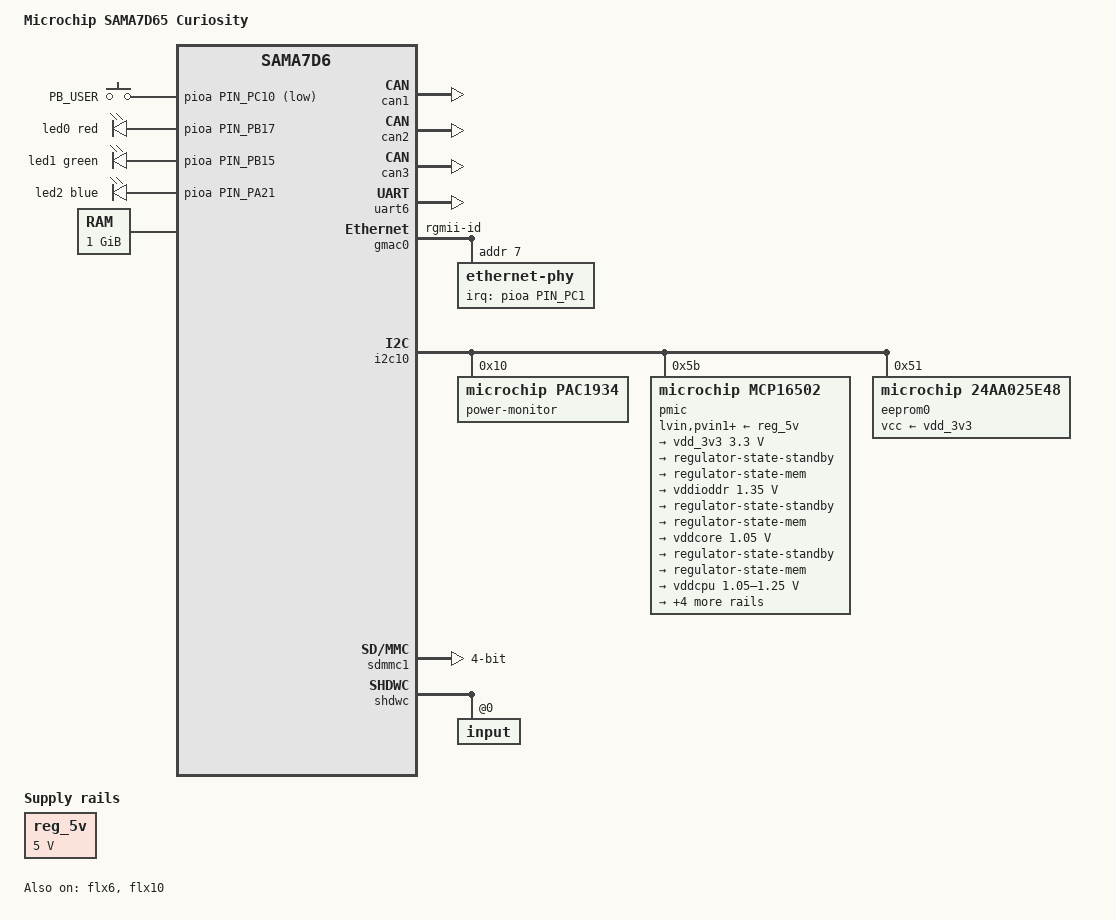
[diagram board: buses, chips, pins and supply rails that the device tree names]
// SPDX-License-Identifier: (GPL-2.0+ OR MIT)
/*
 *  at91-sama7d65_curiosity.dts - Device Tree file for SAMA7D65 Curiosity board
 *
 *  Copyright (c) 2024 Microchip Technology Inc. and its subsidiaries
 *
 *  Author: Romain Sioen <romain.sioen@microchip.com>
 *
 */
/dts-v1/;
#include "sama7d65-pinfunc.h"
#include "sama7d65.dtsi"
#include <dt-bindings/mfd/atmel-flexcom.h>
#include <dt-bindings/input/input.h>
#include <dt-bindings/leds/common.h>
#include <dt-bindings/pinctrl/at91.h>

/ {
	model = "Microchip SAMA7D65 Curiosity";
	compatible = "microchip,sama7d65-curiosity", "microchip,sama7d65",
		     "microchip,sama7d6", "microchip,sama7";

	aliases {
		serial0 = &uart6;
	};

	chosen {
		stdout-path = "serial0:115200n8";
	};

	gpio-keys {
		compatible = "gpio-keys";

		pinctrl-names = "default";
		pinctrl-0 = <&pinctrl_key_gpio_default>;

		button {
			label = "PB_USER";
			gpios = <&pioa PIN_PC10 GPIO_ACTIVE_LOW>;
			linux,code = <KEY_PROG1>;
			wakeup-source;
		};
	};

	leds {
		compatible = "gpio-leds";
		pinctrl-names = "default";
		pinctrl-0 = <&pinctrl_led_gpio_default>;

		led0: led-red {
			color = <LED_COLOR_ID_RED>;
			gpios = <&pioa PIN_PB17 GPIO_ACTIVE_HIGH>; /* Conflict with pwm. */
		};

		led1: led-green {
			color = <LED_COLOR_ID_GREEN>;
			gpios = <&pioa PIN_PB15 GPIO_ACTIVE_HIGH>; /* Conflict with pwm. */
		};

		led2: led-blue {
			color = <LED_COLOR_ID_BLUE>;
			function = LED_FUNCTION_HEARTBEAT;
			gpios = <&pioa PIN_PA21 GPIO_ACTIVE_HIGH>;
			linux,default-trigger = "heartbeat";
		};
	};

	memory@60000000 {
		device_type = "memory";
		reg = <0x60000000 0x40000000>;
	};

	reg_5v: regulator-5v {
		compatible = "regulator-fixed";
		regulator-name = "5V_MAIN";
		regulator-min-microvolt = <5000000>;
		regulator-max-microvolt = <5000000>;
		regulator-always-on;
	};
};

&can1 {
	pinctrl-names = "default";
	pinctrl-0 = <&pinctrl_can1_default>;
	status = "okay";
};

&can2 {
	pinctrl-names = "default";
	pinctrl-0 = <&pinctrl_can2_default>;
	status = "okay";
};

&can3 {
	pinctrl-names = "default";
	pinctrl-0 = <&pinctrl_can3_default>;
	status = "okay";
};

&dma0 {
	status = "okay";
};

&dma1 {
	status = "okay";
};

&dma2 {
	status = "okay";
};

&flx6 {
	atmel,flexcom-mode = <ATMEL_FLEXCOM_MODE_USART>;
	status = "okay";
};

&uart6 {
	pinctrl-names = "default";
	pinctrl-0 = <&pinctrl_uart6_default>;
	status = "okay";
};

&flx10 {
	atmel,flexcom-mode = <ATMEL_FLEXCOM_MODE_TWI>;
	status = "okay";
};

&gmac0 {
	#address-cells = <1>;
	#size-cells = <0>;
	pinctrl-names = "default";
	pinctrl-0 = <&pinctrl_gmac0_default
		     &pinctrl_gmac0_mdio_default
		     &pinctrl_gmac0_txck_default
		     &pinctrl_gmac0_phy_irq>;
	phy-mode = "rgmii-id";
	nvmem-cells = <&eeprom0_eui48>;
	nvmem-cell-names = "mac-address";
	status = "okay";

	ethernet-phy@7 {
		reg = <0x7>;
		interrupt-parent = <&pioa>;
		interrupts = <PIN_PC1 IRQ_TYPE_LEVEL_LOW>;
	};
};

&i2c10 {
	dmas = <0>, <0>;
	i2c-analog-filter;
	i2c-digital-filter;
	i2c-digital-filter-width-ns = <35>;
	pinctrl-names = "default";
	pinctrl-0 = <&pinctrl_i2c10_default>;
	status = "okay";

	power-monitor@10 {
		compatible = "microchip,pac1934";
		reg = <0x10>;
		#address-cells = <1>;
		#size-cells = <0>;

		channel@1 {
			reg = <0x1>;
			shunt-resistor-micro-ohms = <47000>;
			label = "VDD3V3";
		};

		channel@2 {
			reg = <0x2>;
			shunt-resistor-micro-ohms = <47000>;
			label = "VDDIODDR";
		};

		channel@3 {
			reg = <0x3>;
			shunt-resistor-micro-ohms = <47000>;
			label = "VDDCORE";
		};

		channel@4 {
			reg = <0x4>;
			shunt-resistor-micro-ohms = <47000>;
			label = "VDDCPU";
		};
	};

	pmic@5b {
		compatible = "microchip,mcp16502";
		reg = <0x5b>;
		lvin-supply = <&reg_5v>;
		pvin1-supply = <&reg_5v>;
		pvin2-supply = <&reg_5v>;
		pvin3-supply = <&reg_5v>;
		pvin4-supply = <&reg_5v>;
		status = "okay";

		regulators {
			vdd_3v3: VDD_IO {
				regulator-name = "VDD_IO";
				regulator-min-microvolt = <3300000>;
				regulator-max-microvolt = <3300000>;
				regulator-initial-mode = <2>;
				regulator-allowed-modes = <2>, <4>;
				regulator-always-on;

				regulator-state-standby {
					regulator-on-in-suspend;
					regulator-suspend-microvolt = <3300000>;
					regulator-mode = <4>;
				};

				regulator-state-mem {
					regulator-off-in-suspend;
					regulator-mode = <4>;
				};
			};

			vddioddr: VDD_DDR {
				regulator-name = "VDD_DDR";
				regulator-min-microvolt = <1350000>;
				regulator-max-microvolt = <1350000>;
				regulator-initial-mode = <2>;
				regulator-allowed-modes = <2>, <4>;
				regulator-always-on;

				regulator-state-standby {
					regulator-on-in-suspend;
					regulator-suspend-microvolt = <1350000>;
					regulator-mode = <4>;
				};

				regulator-state-mem {
					regulator-on-in-suspend;
					regulator-suspend-microvolt = <1350000>;
					regulator-mode = <4>;
				};
			};

			vddcore: VDD_CORE {
				regulator-name = "VDD_CORE";
				regulator-min-microvolt = <1050000>;
				regulator-max-microvolt = <1050000>;
				regulator-initial-mode = <2>;
				regulator-allowed-modes = <2>, <4>;
				regulator-always-on;

				regulator-state-standby {
					regulator-on-in-suspend;
					regulator-suspend-microvolt = <1050000>;
					regulator-mode = <4>;
				};

				regulator-state-mem {
					regulator-off-in-suspend;
					regulator-mode = <4>;
				};
			};

			vddcpu: VDD_OTHER {
				regulator-name = "VDD_OTHER";
				regulator-min-microvolt = <1050000>;
				regulator-max-microvolt = <1250000>;
				regulator-initial-mode = <2>;
				regulator-allowed-modes = <2>, <4>;
				regulator-ramp-delay = <3125>;
				regulator-always-on;

				regulator-state-standby {
					regulator-on-in-suspend;
					regulator-suspend-microvolt = <1050000>;
					regulator-mode = <4>;
				};

				regulator-state-mem {
					regulator-off-in-suspend;
					regulator-mode = <4>;
				};
			};

			vldo1: LDO1 {
				regulator-name = "LDO1";
				regulator-min-microvolt = <1800000>;
				regulator-max-microvolt = <1800000>;
				regulator-always-on;

				regulator-state-standby {
					regulator-suspend-microvolt = <1800000>;
					regulator-on-in-suspend;
				};

				regulator-state-mem {
					regulator-off-in-suspend;
				};
			};

			vldo2: LDO2 {
				regulator-name = "LDO2";
				regulator-min-microvolt = <1200000>;
				regulator-max-microvolt = <3700000>;

				regulator-state-standby {
					regulator-on-in-suspend;
				};

				regulator-state-mem {
					regulator-off-in-suspend;
				};
			};
		};
	};

	eeprom0: eeprom@51 {
		compatible = "microchip,24aa025e48";
		reg = <0x51>;
		size = <256>;
		pagesize = <16>;
		vcc-supply = <&vdd_3v3>;

		nvmem-layout {
			compatible = "fixed-layout";
			#address-cells = <1>;
			#size-cells = <1>;

			eeprom0_eui48: eui48@fa {
				reg = <0xfa 0x6>;
			};
		};
	};
};

&main_xtal {
	clock-frequency = <24000000>;
};

&pioa {
	pinctrl_can1_default: can1-default {
		pinmux = <PIN_PD10__CANTX1>,
			 <PIN_PD11__CANRX1>;
		bias-disable;
	};

	pinctrl_can2_default: can2-default {
		pinmux = <PIN_PD12__CANTX2>,
			 <PIN_PD13__CANRX2>;
		bias-disable;
	};

	pinctrl_can3_default: can3-default {
		pinmux = <PIN_PD14__CANTX3>,
			 <PIN_PD15__CANRX3>;
		bias-disable;
	};

	pinctrl_gmac0_default: gmac0-default {
		pinmux = <PIN_PA26__G0_TX0>,
			 <PIN_PA27__G0_TX1>,
			 <PIN_PB4__G0_TX2>,
			 <PIN_PB5__G0_TX3>,
			 <PIN_PA29__G0_RX0>,
			 <PIN_PA30__G0_RX1>,
			 <PIN_PB2__G0_RX2>,
			 <PIN_PB6__G0_RX3>,
			 <PIN_PA25__G0_TXCTL>,
			 <PIN_PB3__G0_RXCK>,
			 <PIN_PA28__G0_RXCTL>;
		slew-rate = <0>;
		bias-disable;
	};

	pinctrl_gmac0_mdio_default: gmac0-mdio-default {
		pinmux = <PIN_PA31__G0_MDC>,
			 <PIN_PB0__G0_MDIO>;
		bias-disable;
	};

	pinctrl_gmac0_phy_irq: gmac0-phy-irq {
		pinmux = <PIN_PC1__GPIO>;
		bias-disable;
	};

	pinctrl_gmac0_txck_default: gmac0-txck-default {
		pinmux = <PIN_PB1__G0_REFCK>;
		slew-rate = <0>;
		bias-pull-up;
	};

	pinctrl_i2c10_default: i2c10-default {
		pinmux = <PIN_PB19__FLEXCOM10_IO1>,
			 <PIN_PB20__FLEXCOM10_IO0>;
		bias-pull-up;
	};

	pinctrl_key_gpio_default: key-gpio-default {
		pinmux = <PIN_PC10__GPIO>;
		bias-pull-up;
	};

	pinctrl_led_gpio_default: led-gpio-default {
		pinmux = <PIN_PB15__GPIO>,
			 <PIN_PB17__GPIO>,
			 <PIN_PA21__GPIO>;
		bias-pull-up;
	};

	pinctrl_sdmmc1_default: sdmmc1-default {
		cmd-data {
			pinmux = <PIN_PB22__SDMMC1_CMD>,
				 <PIN_PB24__SDMMC1_DAT0>,
				 <PIN_PB25__SDMMC1_DAT1>,
				 <PIN_PB26__SDMMC1_DAT2>,
				 <PIN_PB27__SDMMC1_DAT3>;
			slew-rate = <0>;
			bias-disable;
		};

		ck-cd-rstn-vddsel {
			pinmux = <PIN_PB23__SDMMC1_CK>,
				 <PIN_PB21__SDMMC1_RSTN>,
				 <PIN_PB30__SDMMC1_1V8SEL>,
				 <PIN_PB29__SDMMC1_CD>,
				 <PIN_PB28__SDMMC1_WP>;
			slew-rate = <0>;
			bias-disable;
		};
	};

	pinctrl_uart6_default: uart6-default {
		pinmux = <PIN_PD18__FLEXCOM6_IO0>,
			 <PIN_PD19__FLEXCOM6_IO1>;
		bias-disable;
	};
};

&rtt {
	atmel,rtt-rtc-time-reg = <&gpbr 0x0>;
};

&sdmmc1 {
	bus-width = <4>;
	no-1-8-v;
	sdhci-caps-mask = <0x0 0x00200000>;
	pinctrl-names = "default";
	pinctrl-0 = <&pinctrl_sdmmc1_default>;
	status = "okay";
};

&shdwc {
	debounce-delay-us = <976>;
	status = "okay";

	input@0 {
		reg = <0>;
	};
};

&slow_xtal {
	clock-frequency = <32768>;
};
